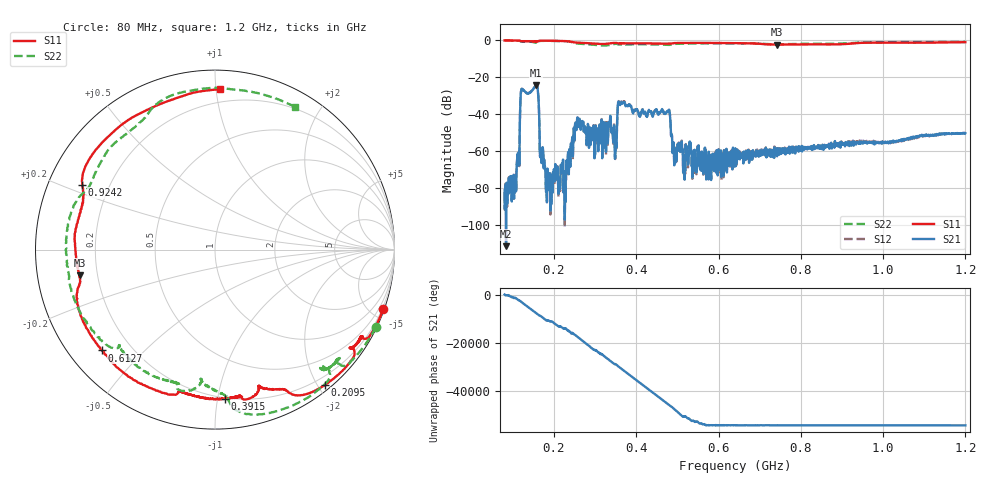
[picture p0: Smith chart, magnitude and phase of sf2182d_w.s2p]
!HP8753
# HZ S RI R 50
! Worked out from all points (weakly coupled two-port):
!   1601 points, 80 MHz to 1.2 GHz, reference 50 ohm
!   highest |S21| = -24.16 dB at 157 MHz (marker M1); lowest = -111.4 dB at 83.5 MHz (marker M2)
!   lowest |S11| = -2.3 dB at 741.5 MHz (marker M3), VSWR 7.62, Z = 6.62 - j4.64 ohm
!   |S11| at or under -10 dB: nowhere
!   |S22| runs from -2.8 to 0.0 dB; largest |S21 - S12| = 0.006
!   S11 on the Smith chart (normalised r, x): 80 MHz: 0.10, -5.86; 209.5 MHz: 0.08, -2.10; 391.5 MHz: 0.19, -1.05; 612.7 MHz: 0.10, -0.38; 924.2 MHz: 0.10, +0.23; 1.2 GHz: 0.11, +1.03
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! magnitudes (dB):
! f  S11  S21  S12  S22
! 80 MHz  0.0  -81.2  -82.3  0.0
! 83.5 MHz  -0.1  -111.4  -90.6  -0.1
! 108 MHz  -0.1  -81.6  -81.2  -0.1
! 124.1 MHz  -0.4  -26.7  -26.6  -0.7
! 157 MHz  -0.6  -24.2  -24.3  -1.1
! 169.6 MHz  -0.2  -66.4  -66.1  -0.3
! 180.1 MHz  -0.2  -78.4  -80.5  -0.2
! 209.5 MHz  -0.3  -74.3  -74.1  -0.3
! 266.9 MHz  -1.3  -45.5  -45.5  -1.9
! 347.4 MHz  -1.4  -53.0  -53.5  -1.9
! 360.7 MHz  -1.6  -35.0  -34.9  -2.2
! 391.5 MHz  -1.6  -38.8  -38.7  -2.1
! 453.8 MHz  -1.7  -39.9  -40.0  -2.3
! 477.6 MHz  -1.8  -38.4  -38.3  -2.5
! 493.7 MHz  -1.5  -61.5  -61.5  -1.9
! 612.7 MHz  -1.5  -65.5  -64.8  -1.6
! 640 MHz  -1.5  -62.3  -61.9  -1.6
! 741.5 MHz  -2.3  -58.6  -59.2  -2.1
! 826.9 MHz  -2.1  -59.3  -58.7  -1.8
! 924.2 MHz  -1.7  -55.2  -54.8  -1.5
! 1.014 GHz  -1.2  -55.3  -55.4  -0.9
! 1.2 GHz  -1.0  -50.2  -50.2  -0.8
